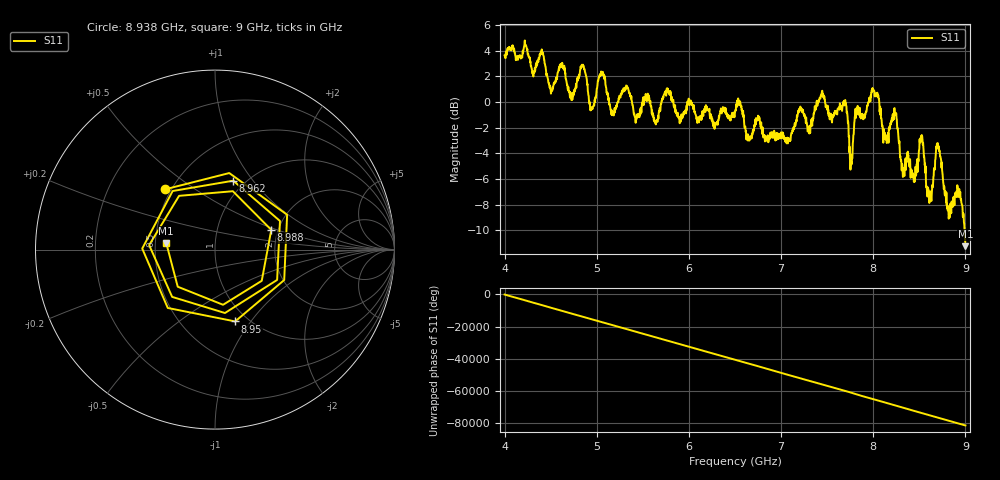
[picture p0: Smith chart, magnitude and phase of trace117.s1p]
! Created with skrf 1.8.0 (http://scikit-rf.org).
# Hz S RI R 50.0
!freq ReS11 ImS11
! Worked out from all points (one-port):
!   1601 points, 4 GHz to 9 GHz, reference 50 ohm
!   lowest |S11| = -11.2 dB at 9 GHz (marker M1), VSWR 1.76, Z = 28.6 + j2.28 ohm
!   |S11| at or under -10 dB: 8.990504 GHz to end of sweep
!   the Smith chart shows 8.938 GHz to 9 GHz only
!   S11 on the Smith chart (normalised r, x): 8.938 GHz: 0.46, +0.38; 8.95 GHz: 0.87, -0.84; 8.962 GHz: 0.88, +0.80; 8.988 GHz: 1.84, +0.46; 9 GHz: 0.57, +0.05
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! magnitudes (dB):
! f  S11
! 4 GHz  3.6
! 4.406 GHz  3.9
! 4.506 GHz  0.8
! 4.625 GHz  3.0
! 4.728 GHz  0.2
! 4.85 GHz  2.9
! 4.947 GHz  -0.5
! 5.05 GHz  2.2
! 5.166 GHz  -1.0
! 5.25 GHz  0.4
! 5.875 GHz  -1.0
! 6.5 GHz  -0.8
! 7.125 GHz  -2.2
! 7.444 GHz  0.8
! 7.694 GHz  0.1
! 7.75 GHz  -4.1
! 8.003 GHz  0.9
! 8.375 GHz  -3.9
! 8.444 GHz  -5.8
! 8.525 GHz  -2.8
! 8.612 GHz  -7.5
! 8.703 GHz  -3.4
! 8.822 GHz  -8.9
! 8.938 GHz  -7.2
! 8.95 GHz  -7.6
! 8.962 GHz  -8.0
! 8.988 GHz  -9.6
! 9 GHz  -11.2
